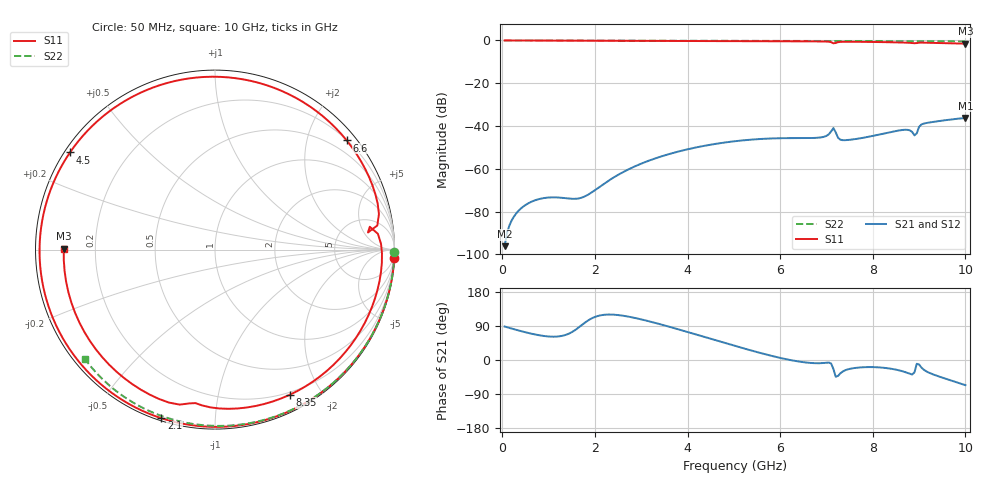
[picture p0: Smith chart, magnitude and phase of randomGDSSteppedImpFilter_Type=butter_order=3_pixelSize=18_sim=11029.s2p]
! freq	dB(S11)	phase(S11)	dB(S12)	phase(S12)
!  dB(S21)	phase(S21)	dB(S22)	phase(S22)
!S-par simulation data
#  GHz  S  DB  R 50
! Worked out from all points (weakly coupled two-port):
!   200 points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, 50 MHz to 10 GHz, reference 50 ohm
!   highest |S21| = -36.21 dB at 10 GHz (marker M1); lowest = -96.2 dB at 50 MHz (marker M2)
!   lowest |S11| = -1.5 dB at 10 GHz (marker M3), VSWR 11.72, Z = 4.27 + j0.136 ohm
!   |S11| at or under -10 dB: nowhere
!   |S22| runs from -0.5 to 0.0 dB; largest |S21 - S12| = 0
!   S11 on the Smith chart (normalised r, x): 50 MHz: 0, -42; 2.1 GHz: 0.01, -0.73; 4.5 GHz: 0.02, +0.30; 6.6 GHz: 0.21, +2.76; 8.35 GHz: 0.17, -1.62; 10 GHz: 0.09, +0.00
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0.05  -0.00 -2.8  -96.16 88.3  -96.16 88.3  -0.00 -0.8
0.3  -0.02 -16.4  -80.87 79.6  -80.87 79.6  -0.01 -4.9
0.95  -0.06 -51.1  -73.52 62.6  -73.52 62.6  -0.02 -15.3
1.75  -0.11 -91.1  -73.20 95.4  -73.20 95.4  -0.04 -28.0
2.1  -0.12 -107.7  -68.45 117.3  -68.45 117.3  -0.04 -33.5
2.8  -0.15 -139.3  -59.48 112.6  -59.48 112.6  -0.06 -44.2
3.4  -0.18 -165.4  -54.44 94.7  -54.44 94.7  -0.07 -53.2
4.5  -0.24 146.2  -48.72 56.0  -48.72 56.0  -0.10 -69.2
5.05  -0.28 120.6  -47.04 36.3  -47.04 36.3  -0.12 -76.9
5.85  -0.34 80.6  -45.78 9.9  -45.78 9.9  -0.15 -87.8
6.6  -0.42 39.7  -45.63 -7.2  -45.63 -7.2  -0.19 -97.7
6.7  -0.43 33.9  -45.60 -8.1  -45.60 -8.1  -0.19 -99.0
7  -0.52 15.7  -44.59 -7.2  -44.59 -7.2  -0.21 -102.9
7.15  -1.33 6.4  -40.95 -23.8  -40.95 -23.8  -0.22 -104.8
7.3  -0.67 2.0  -46.38 -35.2  -46.38 -35.2  -0.23 -106.7
7.55  -0.60 -13.8  -46.32 -22.2  -46.32 -22.2  -0.25 -109.9
8.35  -0.82 -62.8  -42.98 -22.2  -42.98 -22.2  -0.31 -119.9
8.75  -1.05 -88.4  -41.78 -34.0  -41.78 -34.0  -0.34 -124.8
8.9  -1.29 -97.3  -44.36 -32.7  -44.36 -32.7  -0.35 -126.6
9.15  -1.05 -114.3  -38.62 -29.5  -38.62 -29.5  -0.38 -129.7
9.6  -1.31 -147.8  -37.18 -50.5  -37.18 -50.5  -0.43 -135.2
10  -1.49 179.7  -36.21 -66.3  -36.21 -66.3  -0.47 -140.1
